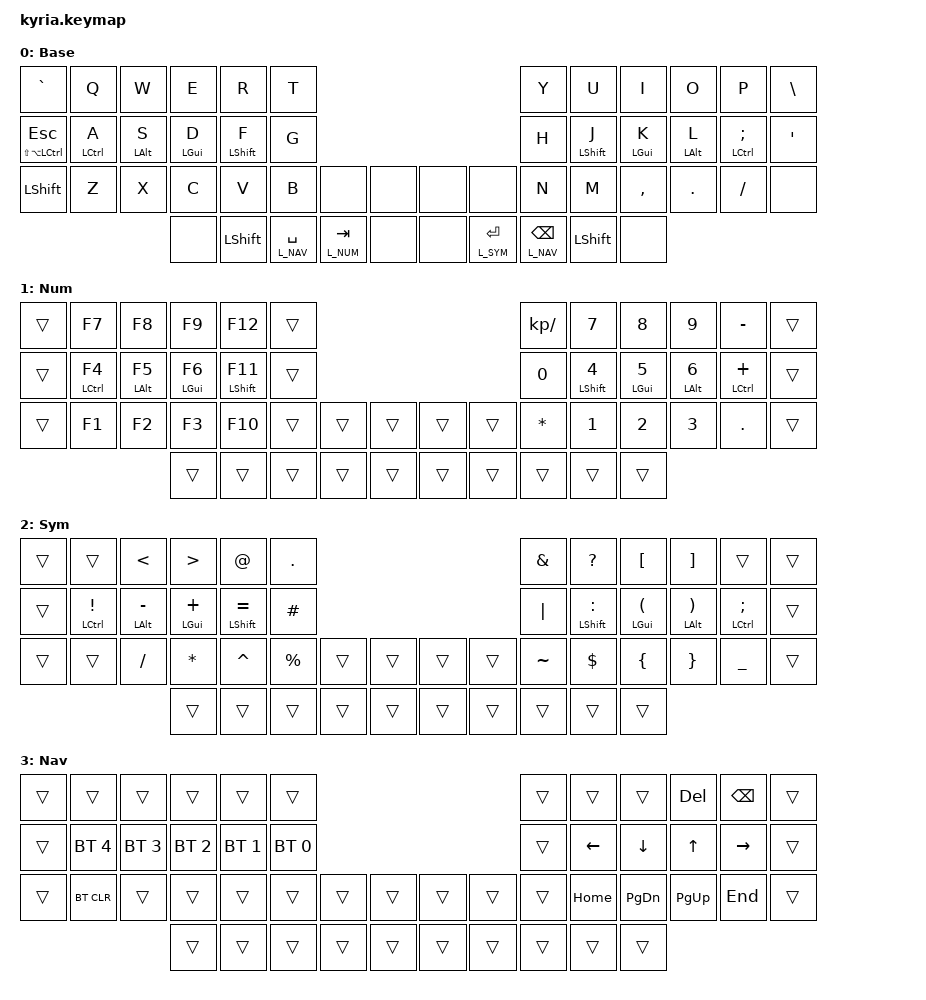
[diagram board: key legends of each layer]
/*
 * Copyright (c) 2020 The ZMK Contributors
 *
 * SPDX-License-Identifier: MIT
 */

#include <behaviors.dtsi>
#include <dt-bindings/zmk/keys.h>
#include <dt-bindings/zmk/bt.h>
#include <dt-bindings/zmk/outputs.h>

#include "kyria_keypos.h"

#define L_BAS 0
#define L_NUM 1
#define L_SYM 2
#define L_NAV 3

// Conditional Layers

/ {
    conditional_layers {
        compatible = "zmk,conditional-layers";
        tri_layer {
            if-layers = <L_NUM L_SYM>;
            then-layer = <L_NAV>;
        };
    };
};

&mt {
    flavor = "tap-preferred";
    tapping-term-ms = <220>;
    quick-tap-ms = <220>;              // repeat on tap-into-hold
    hold-trigger-key-positions = <0>;  // tap on interrupt
};

#define NAV_LEFT  &mt HOME     LEFT    // tap: left  | long-tap: beginning of line
#define NAV_RIGHT &mt END      RIGHT   // tap: right | long-tap: end       of line
#define NAV_UP    &mt LC(HOME) UP      // tap: up    | long-tap: beginning of document
#define NAV_DOWN  &mt LC(END)  DOWN    // tap: down  | long-tap: end       of document
#define NAV_BSPC  &mt LC(BSPC) BSPC    // tap: bspc  | long-tap: delete word backward
#define NAV_DEL   &mt LC(DEL)  DEL     // tap: del   | long-tap: delete word forward

#define XXX &none
#define ___ &trans

/* Settings */

#define QUICK_TAP_MS 125

&sk {  // sticky-key config
    release-after-ms = <600>;  // release after 0.6s
    quick-release;             // no double capitalization when rolling keys
};

&sl {  // sticky-layer config
    ignore-modifiers;
};

&lt {  // layer-tap config
    flavor = "balanced";
    tapping-term-ms = <150>;
    quick-tap-ms = <QUICK_TAP_MS>;
};

/* Homerow mods */

#define KEYS_L LT0 LT1 LT2 LT3 LT4 LT5 LM0 LM1 LM2 LM3 LM4 LM5 LB0 LB1 LB2 LB3 LB4 LB5 // left-hand keys
#define KEYS_R RT0 RT1 RT2 RT3 RT4 RT5 RM0 RM1 RM2 RM3 RM4 RM5 RB0 RB1 RB2 RB3 RB4 RB5 // right-hand keys
#define THUMBS LH4 LH3 LH2 LH1 LH0 RH0 RH1 RH2 RH3 RH4                                 // thumb keys

/ {
    behaviors {
        lh: left_hand_positional_hold_tap {
            compatible = "zmk,behavior-hold-tap";
            label = "LEFT_POSITIONAL_HOLD_TAP";
            #binding-cells = <2>;
            flavor = "balanced";
            tapping-term-ms = <200>;                        // <---[[produces tap if held longer than tapping-term-ms]]
            // global-quick-tap-ms = <150>;        // requires PR #1387
            global-quick-tap;
            quick-tap-ms = <QUICK_TAP_MS>;
            bindings = <&kp>, <&kp>;
            hold-trigger-key-positions = <KEYS_R THUMBS>;
            // hold-trigger-on-release;            // requires PR #1423
        };
        rh: right_hand_positional_hold_tap {
            compatible = "zmk,behavior-hold-tap";
            label = "RIGHT_POSITIONAL_HOLD_TAP";
            #binding-cells = <2>;
            flavor = "balanced";
            tapping-term-ms = <200>;                        // <---[[produces tap if held longer than tapping-term-ms]]
            // global-quick-tap-ms = <150>;        // requires PR #1387
            global-quick-tap;
            quick-tap-ms = <QUICK_TAP_MS>;
            bindings = <&kp>, <&kp>;
            hold-trigger-key-positions = <KEYS_L THUMBS>;
            // hold-trigger-on-release;            // requires PR #1423
        };
    };
};

/ {
    combos {
        compatible = "zmk,combos";
        combo_lbrc {
            timeout-ms = <50>;
            key-positions = <RT1 RT2>;
            bindings = <&kp LBRC>;
        };
        combo_rbrc {
            timeout-ms = <30>;
            key-positions = <RT1 RT3>;
            bindings = <&kp RBRC>;
        };
        combo_lpar {
            timeout-ms = <30>;
            key-positions = <RM0 RM2>;
            bindings = <&kp LPAR>;
        };
        combo_rpar {
            timeout-ms = <30>;
            key-positions = <RM0 RM3>;
            bindings = <&kp RPAR>;
        };
        combo_lbkt {
            timeout-ms = <30>;
            key-positions = <RB1 RB2>;
            bindings = <&kp LBKT>;
        };
        combo_rbkt {
            timeout-ms = <30>;
            key-positions = <RB1 RB3>;
            bindings = <&kp RBKT>;
        };
    };

    td0: tap_dance_0 {
            compatible = "zmk,behavior-tap-dance";
            label = "TAP_DANCE_0";
            #binding-cells = <0>;
            tapping-term-ms = <200>;
            bindings = <&kp N1>, <&kp N2>, <&kp N3>;
        };

    keymap {
        compatible = "zmk,keymap";

            // default layout for reference
            // ---------------------------------------------------------------------------------------------------------------------------------
            // |  CAPS |  Q  |  W  |  E   |  R   |  T   |                                          |  Y   |  U    |  I    |  O   |   P   |   \  |
            // |  TAB  |  A  |  S  |  D   |  F   |  G   |                                          |  H   |  J    |  K    |  L   |   ;   |   '  |
            // | SHIFT |  Z  |  X  |  C   |  V   |  B   | L SHIFT | L SHIFT |  | L SHIFT | L SHIFT |  N   |  M    |  ,    |  .   |   /   | CTRL |
            //                     | L-CTRL  | L-ALT  | L-CMD  |  SPACE  |   CAPS   |  |   RET   |  SPACE  | BSPC  | BSPC  | R-ALT |

            //                &trans &trans &trans &trans &trans &trans                             &trans &trans &trans &trans &trans &trans
            //                &trans &trans &trans &trans &trans &trans                             &trans &trans &trans &trans &trans &trans
            //                &trans &trans &trans &trans &trans &trans &trans &trans &trans &trans &trans &trans &trans &trans &trans &trans
            //                                     &trans &trans &trans &trans &trans &trans &trans &trans &trans &trans

        default_layer {
            label="Base";
            bindings = <
&kp GRAVE             &kp Q       &kp W      &kp E      &kp R       &kp T                                                   &kp Y          &kp U       &kp I      &kp O      &kp P          &kp BSLH
&mt LS(LA(LCTRL)) ESC &lh LCTRL A &lh LALT S &lh LGUI D &lh LSHFT F &kp G                                                   &kp H          &rh LSHFT J &rh LGUI K &rh LALT L &rh LCTRL SEMI &kp SQT
&kp LSHFT             &kp Z       &kp X      &kp C      &kp V       &kp B           &none         &none &none &none         &kp N          &kp M       &kp COMMA  &kp DOT    &kp FSLH       &none
                                             &none      &kp LSHFT   &lt L_NAV SPACE &lt L_NUM TAB &none &none &lt L_SYM RET &lt L_NAV BSPC &kp LSHFT   &none
            >;
        };

        num_layer {
            label="Num";
            bindings = <
&trans &kp F7       &kp F8      &kp F9      &kp F12       &trans                             &kp KP_SLASH &kp N7       &kp N8      &kp N9      &kp MINUS      &trans
&trans &lh LCTRL F4 &lh LALT F5 &lh LGUI F6 &lh LSHFT F11 &trans                             &kp N0       &rh LSHFT N4 &rh LGUI N5 &rh LALT N6 &rh LCTRL PLUS &trans
&trans &kp F1       &kp F2      &kp F3      &kp F10       &trans &trans &trans &trans &trans &kp ASTERISK &kp N1       &kp N2      &kp N3      &kp DOT        &trans
                                &trans      &trans        &trans &trans &trans &trans &trans &trans       &trans       &trans
            >;
        };

        symbol_layer {
            label="Sym";
            bindings = <
&trans &trans         &kp LT         &kp GT        &kp AT          &kp PERIOD                              &kp AMPERSAND &kp QUESTION    &kp LBKT      &kp RBKT      &trans         &trans
&trans &lh LCTRL EXCL &lh LALT MINUS &lh LGUI PLUS &lh LSHFT EQUAL &kp HASH                                &kp PIPE      &rh LSHFT COLON &rh LGUI LPAR &rh LALT RPAR &rh LCTRL SEMI &trans
&trans &trans         &kp SLASH      &kp ASTERISK  &kp CARET       &kp PERCENT &trans &trans &trans &trans &kp TILDE     &kp DOLLAR      &kp LBRC      &kp RBRC      &kp UNDER      &trans
                                     &trans        &trans          &trans      &trans &trans &trans &trans &trans        &trans          &trans
            >;
        };

        nav_layer {
            label="Nav";
            bindings = <
&trans &trans       &trans       &trans       &trans       &trans                                   &trans &trans   &trans    &kp DEL   &kp BSPC  &trans
&trans &bt BT_SEL 4 &bt BT_SEL 3 &bt BT_SEL 2 &bt BT_SEL 1 &bt BT_SEL 0                             &trans &kp LEFT &kp DOWN  &kp UP    &kp RIGHT &trans
&trans &bt BT_CLR   &trans       &trans       &trans       &trans       &trans &trans &trans &trans &trans &kp HOME &kp PG_DN &kp PG_UP &kp END   &trans
                                 &trans       &trans       &trans       &trans &trans &trans &trans &trans &trans   &trans
            >;
        };
    };
};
